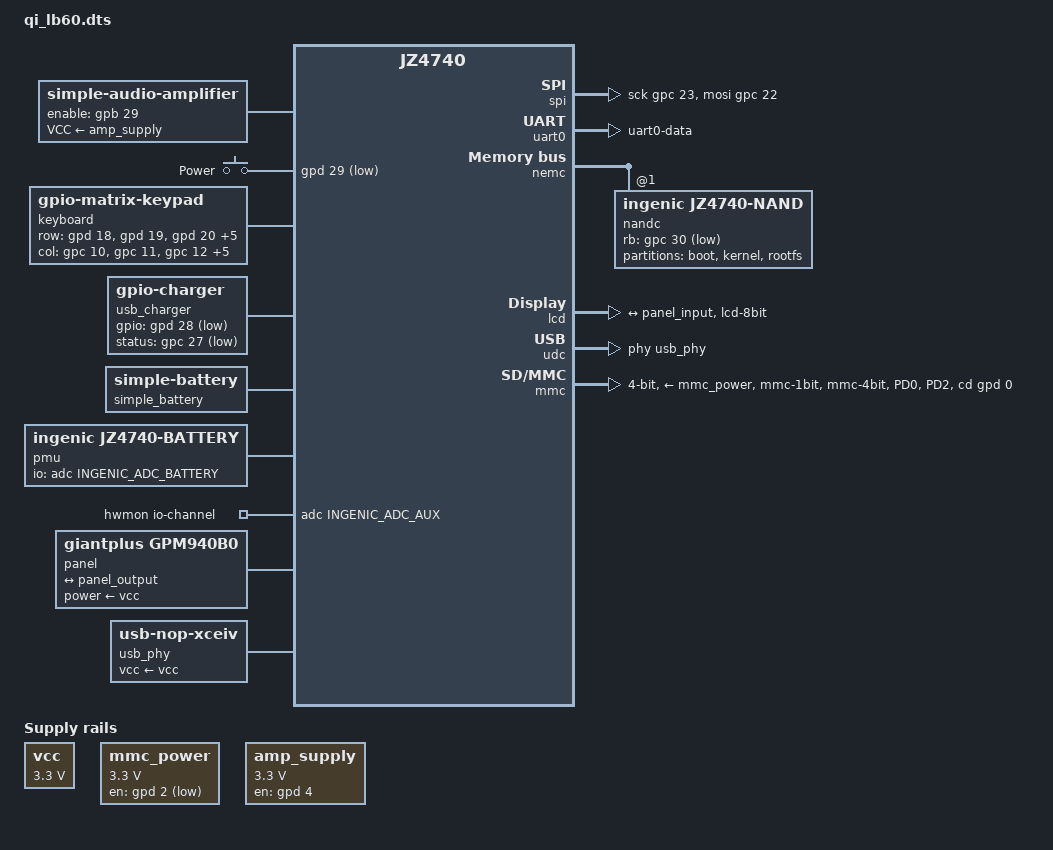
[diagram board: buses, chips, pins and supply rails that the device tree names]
// SPDX-License-Identifier: GPL-2.0
/dts-v1/;

#include "jz4740.dtsi"

#include <dt-bindings/gpio/gpio.h>
#include <dt-bindings/iio/adc/ingenic,adc.h>
#include <dt-bindings/clock/ingenic,tcu.h>
#include <dt-bindings/input/input.h>

#define KEY_QI_QI	KEY_F13
#define KEY_QI_UPRED	KEY_RIGHTALT
#define KEY_QI_VOLUP	KEY_VOLUMEUP
#define KEY_QI_VOLDOWN	KEY_VOLUMEDOWN
#define KEY_QI_FN	KEY_LEFTCTRL

/ {
	compatible = "qi,lb60", "ingenic,jz4740";

	chosen {
		stdout-path = &uart0;
	};

	vcc: regulator@0 {
		compatible = "regulator-fixed";
		regulator-name = "vcc";

		regulator-min-microvolt = <3300000>;
		regulator-max-microvolt = <3300000>;
		regulator-always-on;
	};

	mmc_power: regulator@1 {
		compatible = "regulator-fixed";
		regulator-name = "mmc_vcc";
		gpio = <&gpd 2 0>;

		regulator-min-microvolt = <3300000>;
		regulator-max-microvolt = <3300000>;
	};

	amp_supply: regulator@2 {
		compatible = "regulator-fixed";
		regulator-name = "amp_supply";
		gpio = <&gpd 4 0>;
		enable-active-high;

		regulator-min-microvolt = <3300000>;
		regulator-max-microvolt = <3300000>;
	};

	amp: analog-amplifier {
		compatible = "simple-audio-amplifier";
		enable-gpios = <&gpb 29 GPIO_ACTIVE_HIGH>;
		VCC-supply = <&amp_supply>;
	};

	sound {
		compatible = "simple-audio-card";

		simple-audio-card,name = "QI LB60";
		simple-audio-card,format = "i2s";

		simple-audio-card,widgets =
			"Speaker", "Speaker",
			"Microphone", "Mic";
		simple-audio-card,routing =
			"MIC", "Mic",
			"Speaker", "OUTL",
			"Speaker", "OUTR",
			"INL", "LOUT",
			"INL", "ROUT";

		simple-audio-card,aux-devs = <&amp>;

		simple-audio-card,bitclock-master = <&dai_codec>;
		simple-audio-card,frame-master = <&dai_codec>;

		dai_cpu: simple-audio-card,cpu {
			sound-dai = <&aic>;
		};

		dai_codec: simple-audio-card,codec {
			sound-dai = <&codec>;
		};
	};

	keys {
		compatible = "gpio-keys";

		key {
			label = "Power";
			wakeup-source;
			linux,code = <KEY_POWER>;
			gpios = <&gpd 29 GPIO_ACTIVE_LOW>;
		};
	};

	keyboard {
		compatible = "gpio-matrix-keypad";

		col-scan-delay-us = <10>;
		debounce-delay-ms = <10>;
		wakeup-source;

		row-gpios = <&gpd 18 0 &gpd 19 0 &gpd 20 0 &gpd 21 0
			     &gpd 22 0 &gpd 23 0 &gpd 24 0 &gpd 26 0>;
		col-gpios = <&gpc 10 0 &gpc 11 0 &gpc 12 0 &gpc 13 0
			     &gpc 14 0 &gpc 15 0 &gpc 16 0 &gpc 17 0>;
		gpio-activelow;

		linux,keymap = <
			MATRIX_KEY(0, 0, KEY_F1)	/* S2 */
			MATRIX_KEY(0, 1, KEY_F2)	/* S3 */
			MATRIX_KEY(0, 2, KEY_F3)	/* S4 */
			MATRIX_KEY(0, 3, KEY_F4)	/* S5 */
			MATRIX_KEY(0, 4, KEY_F5)	/* S6 */
			MATRIX_KEY(0, 5, KEY_F6)	/* S7 */
			MATRIX_KEY(0, 6, KEY_F7)	/* S8 */

			MATRIX_KEY(1, 0, KEY_Q)	/* S10 */
			MATRIX_KEY(1, 1, KEY_W)	/* S11 */
			MATRIX_KEY(1, 2, KEY_E)	/* S12 */
			MATRIX_KEY(1, 3, KEY_R)	/* S13 */
			MATRIX_KEY(1, 4, KEY_T)	/* S14 */
			MATRIX_KEY(1, 5, KEY_Y)	/* S15 */
			MATRIX_KEY(1, 6, KEY_U)	/* S16 */
			MATRIX_KEY(1, 7, KEY_I)	/* S17 */
			MATRIX_KEY(2, 0, KEY_A)	/* S18 */
			MATRIX_KEY(2, 1, KEY_S)	/* S19 */
			MATRIX_KEY(2, 2, KEY_D)	/* S20 */
			MATRIX_KEY(2, 3, KEY_F)	/* S21 */
			MATRIX_KEY(2, 4, KEY_G)	/* S22 */
			MATRIX_KEY(2, 5, KEY_H)	/* S23 */
			MATRIX_KEY(2, 6, KEY_J)	/* S24 */
			MATRIX_KEY(2, 7, KEY_K)	/* S25 */
			MATRIX_KEY(3, 0, KEY_ESC)	/* S26 */
			MATRIX_KEY(3, 1, KEY_Z)	/* S27 */
			MATRIX_KEY(3, 2, KEY_X)	/* S28 */
			MATRIX_KEY(3, 3, KEY_C)	/* S29 */
			MATRIX_KEY(3, 4, KEY_V)	/* S30 */
			MATRIX_KEY(3, 5, KEY_B)	/* S31 */
			MATRIX_KEY(3, 6, KEY_N)	/* S32 */
			MATRIX_KEY(3, 7, KEY_M)	/* S33 */
			MATRIX_KEY(4, 0, KEY_TAB)	/* S34 */
			MATRIX_KEY(4, 1, KEY_CAPSLOCK)	/* S35 */
			MATRIX_KEY(4, 2, KEY_BACKSLASH)	/* S36 */
			MATRIX_KEY(4, 3, KEY_APOSTROPHE)	/* S37 */
			MATRIX_KEY(4, 4, KEY_COMMA)	/* S38 */
			MATRIX_KEY(4, 5, KEY_DOT)	/* S39 */
			MATRIX_KEY(4, 6, KEY_SLASH)	/* S40 */
			MATRIX_KEY(4, 7, KEY_UP)	/* S41 */
			MATRIX_KEY(5, 0, KEY_O)	/* S42 */
			MATRIX_KEY(5, 1, KEY_L)	/* S43 */
			MATRIX_KEY(5, 2, KEY_EQUAL)	/* S44 */
			MATRIX_KEY(5, 3, KEY_QI_UPRED)	/* S45 */
			MATRIX_KEY(5, 4, KEY_SPACE)	/* S46 */
			MATRIX_KEY(5, 5, KEY_QI_QI)	/* S47 */
			MATRIX_KEY(5, 6, KEY_RIGHTCTRL)	/* S48 */
			MATRIX_KEY(5, 7, KEY_LEFT)	/* S49 */
			MATRIX_KEY(6, 0, KEY_F8)	/* S50 */
			MATRIX_KEY(6, 1, KEY_P)	/* S51 */
			MATRIX_KEY(6, 2, KEY_BACKSPACE)/* S52 */
			MATRIX_KEY(6, 3, KEY_ENTER)	/* S53 */
			MATRIX_KEY(6, 4, KEY_QI_VOLUP)	/* S54 */
			MATRIX_KEY(6, 5, KEY_QI_VOLDOWN)	/* S55 */
			MATRIX_KEY(6, 6, KEY_DOWN)	/* S56 */
			MATRIX_KEY(6, 7, KEY_RIGHT)	/* S57 */

			MATRIX_KEY(7, 0, KEY_LEFTSHIFT)	/* S58 */
			MATRIX_KEY(7, 1, KEY_LEFTALT) /* S59 */
			MATRIX_KEY(7, 2, KEY_QI_FN)	/* S60 */
			>;
	};

	spi {
		compatible = "spi-gpio";
		#address-cells = <1>;
		#size-cells = <0>;

		sck-gpios = <&gpc 23 GPIO_ACTIVE_HIGH>;
		mosi-gpios = <&gpc 22 GPIO_ACTIVE_HIGH>;
		cs-gpios = <&gpc 21 GPIO_ACTIVE_LOW>;
		num-chipselects = <1>;
	};

	usb_charger: charger {
		compatible = "gpio-charger";
		charger-type = "usb-sdp";
		gpios = <&gpd 28 GPIO_ACTIVE_LOW>;
		status-gpios = <&gpc 27 GPIO_ACTIVE_LOW>;
	};

	simple_battery: battery {
		compatible = "simple-battery";
		voltage-min-design-microvolt = <3600000>;
		voltage-max-design-microvolt = <4200000>;
	};

	pmu {
		compatible = "ingenic,jz4740-battery";
		io-channels = <&adc INGENIC_ADC_BATTERY>;
		io-channel-names = "battery";
		power-supplies = <&usb_charger>;
		monitored-battery = <&simple_battery>;
	};

	hwmon {
		compatible = "iio-hwmon";
		io-channels = <&adc INGENIC_ADC_AUX>;
	};

	panel: panel {
		compatible = "giantplus,gpm940b0";

		power-supply = <&vcc>;

		port {
			panel_input: endpoint {
				remote-endpoint = <&panel_output>;
			};
		};
	};

	usb_phy: usb-phy {
		compatible = "usb-nop-xceiv";
		#phy-cells = <0>;

		vcc-supply = <&vcc>;
	};
};

&ext {
	clock-frequency = <12000000>;
};

&rtc_dev {
	system-power-controller;
};

&uart0 {
	pinctrl-names = "default";
	pinctrl-0 = <&pins_uart0>;
};

&uart1 {
	status = "disabled";
};

&nemc {
	nandc: nand-controller@1 {
		compatible = "ingenic,jz4740-nand";
		reg = <1 0 0x4000000>;

		#address-cells = <1>;
		#size-cells = <0>;

		ingenic,bch-controller = <&ecc>;

		pinctrl-names = "default";
		pinctrl-0 = <&pins_nemc>;

		rb-gpios = <&gpc 30 GPIO_ACTIVE_LOW>;

		nand@1 {
			reg = <1>;

			nand-ecc-step-size = <512>;
			nand-ecc-strength = <4>;
			nand-ecc-mode = "hw";
			nand-is-boot-medium;
			nand-on-flash-bbt;

			partitions {
				compatible = "fixed-partitions";
				#address-cells = <1>;
				#size-cells = <1>;

				partition@0 {
					label = "boot";
					reg = <0x0 0x400000>;
				};

				partition@400000 {
					label = "kernel";
					reg = <0x400000 0x400000>;
				};

				partition@800000 {
					label = "rootfs";
					reg = <0x800000 0x0>;
				};
			};
		};
	};
};

&lcd {
	pinctrl-names = "default";
	pinctrl-0 = <&pins_lcd>;

	port {
		panel_output: endpoint {
			remote-endpoint = <&panel_input>;
		};
	};
};

&udc {
	phys = <&usb_phy>;
};

&pinctrl {
	pins_lcd: lcd {
		function = "lcd";
		groups = "lcd-8bit";
	};

	pins_nemc: nemc {
		function = "nand";
		groups = "nand-cs1";
	};

	pins_uart0: uart0 {
		function = "uart0";
		groups = "uart0-data";
		bias-disable;
	};

	pins_mmc: mmc {
		mmc {
			function = "mmc";
			groups = "mmc-1bit", "mmc-4bit";
			bias-disable;
		};

		mmc-gpios {
			pins = "PD0", "PD2";
			bias-disable;
		};
	};
};

&mmc {
	bus-width = <4>;
	max-frequency = <24000000>;
	cd-gpios = <&gpd 0 GPIO_ACTIVE_HIGH>;
	vmmc-supply = <&mmc_power>;

	pinctrl-names = "default";
	pinctrl-0 = <&pins_mmc>;
};

&tcu {
	/* 750 kHz for the system timer and clocksource */
	assigned-clocks = <&tcu TCU_CLK_TIMER0>, <&tcu TCU_CLK_TIMER1>;
	assigned-clock-rates = <750000>, <750000>;
};
